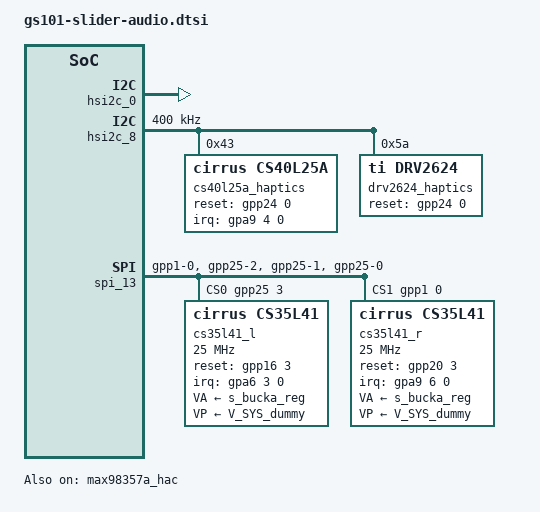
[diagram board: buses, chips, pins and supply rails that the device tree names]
// SPDX-License-Identifier: GPL-2.0-only
/*
 * Google GS101 Slider-specific audio device tree source
 *
 * Copyright (c) 2020 Google, LLC
 *		https://www.google.com
 *
*/

#include <dt-bindings/pinctrl/samsung.h>
#include <dt-bindings/gpio/gpio.h>
#include <dt-bindings/sound/google-aoc.h>

&max98357a_hac {
	status = "okay";

	pinctrl-names = "default";
	pinctrl-0 = <&hac_amp_en>;

	sdmode-gpios = <&gpp8 3 0>;
};

&dai_be_tdm0_rx {
	codec {
		sound-dai = <&cs35l41_l 0>,
			<&cs35l41_r 0>;
	};
};

&dai_be_tdm0_tx {
	codec {
		sound-dai = <&cs35l41_l 0>,
			<&cs35l41_r 0>;
	};
};

&dai_be_haptic_rx {
	codec {
		sound-dai = <&cs40l2x_codec 0>;
	};
};

&aoc_snd_card {
	clks {
		sys {
			sys@cs35l41_l {
				comp = <&cs35l41_l>;
				src = "BCLK";
				/* clk id */
				id = <0>;
				/* clk source */
				srcid = <0>;
				/* in clk multiple */
				in_mul = <1>;
				/* out clk multiple */
				out_mul = <1>;
			};

			sys@cs35l41_r {
				comp = <&cs35l41_r>;
				src = "BCLK";
				/* clk id */
				id = <0>;
				/* clk source */
				srcid = <0>;
				/* in clk multiple */
				in_mul = <1>;
				/* out clk multiple */
				out_mul = <1>;
			};

			sys@cs40l25a_codec {
				comp = <&cs40l2x_codec>;
				src = "BCLK";
				/* clk id */
				id = <0>;
				/* clk source */
				srcid = <0>;
				/* in clk multiple */
				in_mul = <1>;
				/* out clk multiple */
				out_mul = <1>;
			};
		};
	};
};

/* GPIO_ALIVE */
&pinctrl_0 {
	hapt_amp_irq: hapt-amp-irq {
		samsung,pins = "gpa9-4"; /* XEINT_24 */
		samsung,pin-function = <EXYNOS_PIN_FUNC_EINT>;
		samsung,pin-pud = <EXYNOS_PIN_PULL_NONE>;
	};

	cs35l41_r_irq: cs35l41-r-irq {
		samsung,pins = "gpa9-6"; /* XEINT_26 */
		samsung,pin-function = <EXYNOS_PIN_FUNC_EINT>;
		samsung,pin-pud = <EXYNOS_PIN_PULL_NONE>;
	};
};

/* GPIO_FAR_ALIVE */
&pinctrl_1 {
	cs35l41_l_irq: cs35l41-l-irq {
		samsung,pins = "gpa6-3"; /* XEINT_3 */
		samsung,pin-function = <EXYNOS_PIN_FUNC_EINT>;
		samsung,pin-pud = <EXYNOS_PIN_PULL_NONE>;
	};

	hs_amp_irq: hs-amp-irq {
		samsung,pins = "gpa6-5"; /* XEINT_5 */
		samsung,pin-function = <EXYNOS_PIN_FUNC_EINT>;
		samsung,pin-pud = <EXYNOS_PIN_PULL_NONE>;
	};
};

/* GPIO_PERIC0 */
&pinctrl_4 {
	cs35l41_l_rst: cs35l41-l-rst {
		samsung,pins = "gpp16-3"; /* XAPC_USI8_CTSN_CSN */
		samsung,pin-function = <EXYNOS_PIN_FUNC_OUTPUT>;
		samsung,pin-pud = <EXYNOS_PIN_PULL_NONE>;
		samsung,pin-con-pdn = <EXYNOS_PIN_PDN_PREV>;
		samsung,pin-pud-pdn = <EXYNOS_PIN_PULL_NONE>;
	};

	hac_amp_en: hac-amp-en {
		samsung,pins = "gpp8-3"; /* XAPC_USI4_CTSN_CSN */
		samsung,pin-function = <EXYNOS_PIN_FUNC_OUTPUT>;
		samsung,pin-pud = <EXYNOS_PIN_PULL_NONE>;
		samsung,pin-con-pdn = <EXYNOS_PIN_PDN_PREV>;
		samsung,pin-pud-pdn = <EXYNOS_PIN_PULL_NONE>;
	};

	cs35l41_cs2: cs35l41-cs2 {
		samsung,pins = "gpp1-0";
		samsung,pin-pud = <EXYNOS_PIN_PULL_NONE>;
	};
};

/* GPIO_PERIC1 */
&pinctrl_5 {
	hapt_amp_rst: hapt-amp-rst {
		samsung,pins = "gpp24-0"; /* XAPC_GPIO6 */
		samsung,pin-function = <EXYNOS_PIN_FUNC_OUTPUT>;
		samsung,pin-pud = <EXYNOS_PIN_PULL_NONE>;
		samsung,pin-con-pdn = <EXYNOS_PIN_PDN_PREV>;
		samsung,pin-pud-pdn = <EXYNOS_PIN_PULL_NONE>;
	};

	hapt_amp_trig: hapt-amp-trig {
		samsung,pins = "gpp24-3"; /* XAPC_GPIO9 */
		samsung,pin-function = <EXYNOS_PIN_FUNC_OUTPUT>;
		samsung,pin-pud = <EXYNOS_PIN_PULL_NONE>;
		samsung,pin-con-pdn = <EXYNOS_PIN_PDN_PREV>;
		samsung,pin-pud-pdn = <EXYNOS_PIN_PULL_NONE>;
	};

	cs35l41_r_rst: cs35l41-r-rst {
		samsung,pins = "gpp20-3"; /* XAPC_USI0_CTSN_CSN */
		samsung,pin-function = <EXYNOS_PIN_FUNC_OUTPUT>;
		samsung,pin-pud = <EXYNOS_PIN_PULL_NONE>;
		samsung,pin-con-pdn = <EXYNOS_PIN_PDN_PREV>;
		samsung,pin-pud-pdn = <EXYNOS_PIN_PULL_NONE>;
	};

	cs35l41_miso: cs35l41-miso {
		samsung,pins = "gpp25-2";
		samsung,pin-pud = <EXYNOS_PIN_PULL_DOWN>;
	};

	cs35l41_mosi: cs35l41-mosi {
		samsung,pins = "gpp25-1";
		samsung,pin-drv = <GS101_PIN_DRV_5_MA>;
	};

	cs35l41_clk: cs35l41-clk {
		samsung,pins = "gpp25-0";
		samsung,pin-drv = <GS101_PIN_DRV_5_MA>;
	};
};


&hsi2c0_bus {
	samsung,pin-con-pdn = <EXYNOS_PIN_PDN_PREV>;
	samsung,pin-pud-pdn = <EXYNOS_PIN_PULL_NONE>;
};

&hsi2c_0 {
	#address-cells = <1>;
	#size-cells = <0>;
	status = "okay";

	pinctrl-names = "default";
	pinctrl-0 = <&hsi2c0_bus>;

	headphone_amp: rt5682@1a {
		#sound-dai-cells = <1>;
		compatible = "realtek,rt5682i";
		reg = <0x1a>;

		pinctrl-names = "default";
		pinctrl-0 = <&hs_amp_irq>;

		interrupt-parent = <&gpa6>;
		interrupts = <5 0 0>;

		realtek,dmic1-data-pin = <0>;
		realtek,jd-src = <2>;

		status = "disabled";
	};
};

&hsi2c_8 {
	#address-cells = <1>;
	#size-cells = <0>;
	status = "okay";

	pinctrl-names = "default";
	pinctrl-0 = <&hsi2c8_bus>;

	clock-frequency = <400000>;

	cs40l25a_haptics: cs40l25a@43 {
		compatible = "cirrus,cs40l25a";
		reg = <0x43>;
		dev-name = "cs40l25a";

		pinctrl-names = "default";
		pinctrl-0 = <&hapt_amp_irq &hapt_amp_rst &hapt_amp_trig>;

		interrupt-parent = <&gpa9>;
		interrupts = <4 0 0>;

		reset-gpios = <&gpp24 0 0>;

		async-suspend;
		cirrus,fw-id-remap = <0x1400CB>;
		cirrus,boost-ind-nanohenry = <1000>;
		cirrus,boost-cap-microfarad = <4>;
		cirrus,boost-ipk-milliamp = <4500>;
		cirrus,boost-ctl-millivolt = <10000>; /* 10V */
		cirrus,boost-ovp-millivolt = <11000>; /* 11V */
		cirrus,f0-default = <2514000>; /* 153 Hz */
		cirrus,f0-min = <2293760>; /* 140 Hz */
		cirrus,f0-max = <2703360>; /* 165 Hz */
		cirrus,redc-comp-disable = <1>; /* disabling ReDC clk comp */
		cirrus,redc-default = <327728>; /* 15 Ohm */
		cirrus,redc-min = <302112>; /* 13.5 Ohm */
		cirrus,redc-max = <369248>; /* 16.5 Ohm */
		cirrus,gpio1-rise-index = <2>; /* 100% HEAVY_CLICK */
		cirrus,gpio1-fall-index = <1>; /* 75% HEAVY_CLICK */
		cirrus,gpio1-fall-timeout = <47278>; /* 985 ms */
		cirrus,gpio1-mode = <2>; /* enabled only in suspend mode */
		/*cirrus,hiber-enable;*/
		cirrus,refclk-gpio2 = <1>; /* set GPIO2 as REFCLK */
		cirrus,asp-bclk-freq-hz = <6144000>;
		cirrus,asp-bclk-inv;
		cirrus,asp-fmt = <0>;
		cirrus,asp-slot-num = <2>;
		cirrus,asp-slot-width = <32>;
		cirrus,asp-samp-width = <24>;

		status = "okay";

		cs40l2x_codec: cs40l2x_codec@snd {
			#sound-dai-cells = <1>;
			compatible = "cs40l2x-codec";
			status = "okay";
		};
	};

	drv2624_haptics@5a {
		compatible = "ti,drv2624";
		reg = <0x5a>;

		pinctrl-names = "default";
		pinctrl-0 = <&hapt_amp_rst>;

		ti,reset-gpio = <&gpp24 0 0>;

		ti,smart-loop = <0>; /* 0-closeloop, 1-openloop */
		ti,actuator = <1>; /* 0-ERM, 1-LRA */
		ti,rated-voltage = <77>; /* 1.8 Vrms */
		ti,odclamp-voltage = <165>; /* 3.5 Vpeak */
		ti,lra-frequency = <155>; /* f0 = 155Hz */
		ti,ol-lra-frequency = <155>; /* off-f0 in OL */
		ti,bemf-factor = <188>;
		ti,bemf-gain = <1>;
		ti,voltage-comp = <9>;
		ti,blanking-time = <2>; /* 50 us */
		ti,idiss-time = <2>; /* 50 us */
		ti,zc-det-time = <0>; /* 100 us*/
		ti,lra-wave-shape = <0>; /* Square wave */
		ti,waveform-interval = <1>; /* 1 ms */

		status = "okay";
	};
};

&spi_13 {
	/* XAPC_USI13 */
	#address-cells = <1>;
	#size-cells = <0>;
	status = "okay";

	pinctrl-names = "default";
	pinctrl-0 = <&spi13_bus &spi13_cs_func &cs35l41_cs2
		     &cs35l41_miso &cs35l41_mosi &cs35l41_clk>;
	cs-gpios = <&gpp25 3 GPIO_ACTIVE_HIGH>, <&gpp1 0 GPIO_ACTIVE_HIGH>;

	cs35l41_l: cs35l41@0 {
		#sound-dai-cells = <1>;
		compatible = "cirrus,cs35l41";
		spi-max-frequency = <25000000>;
		reg = <0>;

		status = "okay";

		pinctrl-names = "default";
		pinctrl-0 = <&cs35l41_l_irq &cs35l41_l_rst>;

		interrupt-parent = <&gpa6>;
		interrupts = <3 0 0>;

		reset-gpios = <&gpp16 3 0>;

		VA-supply = <&s_bucka_reg>;
		VP-supply = <&V_SYS_dummy>;

		cirrus,boost-peak-milliamp = <3500>;
		cirrus,boost-ind-nanohenry = <1000>;
		cirrus,boost-cap-microfarad = <30>;

		cirrus,asp-sdout-hiz = <3>;
		cirrus,tuning-has-prefix;
		cirrus,left-channel-amp;

		cirrus,gpio-config2 {
			cirrus,gpio-src-select = <0x5>;
			cirrus,gpio-output-enable;
		};

		controller-data {
			cs-gpio = <&gpp25 3 GPIO_ACTIVE_HIGH>;
			samsung,spi-feedback-delay = <1>;
			/* SET SPI CS CONTROL TO AUTOMATIC */
			samsung,spi-chip-select-mode = <1>;
		};
	};


	cs35l41_r: cs35l41@1 {
		#sound-dai-cells = <1>;
		sound-name-prefix = "R";
		compatible = "cirrus,cs35l41";
		spi-max-frequency = <25000000>;
		reg = <1>;

		status = "okay";

		pinctrl-names = "default";
		pinctrl-0 = <&cs35l41_r_irq &cs35l41_r_rst>;

		interrupt-parent = <&gpa9>;
		interrupts = <6 0 0>;

		reset-gpios = <&gpp20 3 0>;

		VA-supply = <&s_bucka_reg>;
		VP-supply = <&V_SYS_dummy>;

		cirrus,boost-peak-milliamp = <3500>;
		cirrus,boost-ind-nanohenry = <1000>;
		cirrus,boost-cap-microfarad = <30>;

		cirrus,asp-sdout-hiz = <3>;
		cirrus,tuning-has-prefix;
		cirrus,right-channel-amp;

		cirrus,gpio-config2 {
			cirrus,gpio-src-select = <0x5>;
			cirrus,gpio-output-enable;
		};

		controller-data {
			cs-gpio =<&gpp1 0 GPIO_ACTIVE_HIGH>;
			samsung,spi-feedback-delay = <1>;
			/* SET SPI CS CONTROL TO AUTOMATIC */
			samsung,spi-chip-select-mode = <1>;
		};
	};
};

&aoc {
	aoc-board-cfg = "sl1";
};
